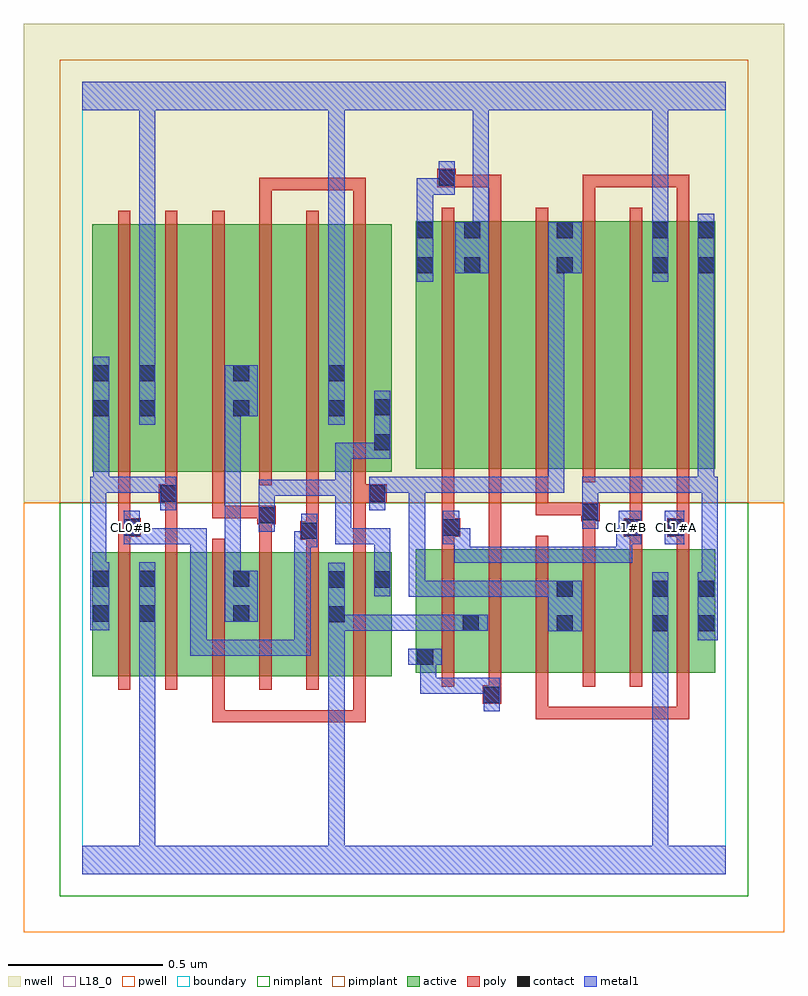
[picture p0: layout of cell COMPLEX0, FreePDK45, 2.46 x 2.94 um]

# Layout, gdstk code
import gdstk
lib = gdstk.Library(unit=1e-6, precision=1e-09)
def R(c, l, rs):  # rectangles x0, y0, x1, y1
    for r in rs: c.add(gdstk.rectangle(r[:2], r[2:], *l))
def A(c, l, x, y, w, h, nx, ny, dx, dy):  # array of equal rectangles
    R(c, l, [(x+i*dx, y+j*dy, x+i*dx+w, y+j*dy+h) for i in range(nx) for j in range(ny)])
active = (1, 0)
pwell = (2, 0)
nwell = (3, 0)
nimplant = (4, 0)
pimplant = (5, 0)
poly = (9, 0)
contact = (10, 0)
metal1 = (11, 0)
L18_0 = (18, 0)
boundary = (235, 0)

complex0 = lib.new_cell('COMPLEX0')
R(complex0, active, [(0.032,0.64,0.24,1.04), (0.18,0.64,0.364,1.04), (0.364,0.64,0.544,1.04), (0.484,0.64,0.668,1.04), (0.668,0.64,0.852,1.04), (0.792,0.64,1,1.04), (1.078,0.65,1.286,1.05), (1.078,0.65,1.138,0.948), (1.226,0.65,1.41,1.05), (1.226,0.65,1.286,0.842), (1.41,0.65,1.59,1.05), (1.53,0.65,1.714,1.05), (1.714,0.65,1.898,1.05), (1.838,0.65,2.046,1.05), (0.032,0.756,0.092,1.04), (0.18,0.756,0.24,0.984), (0.484,0.756,0.544,0.984), (0.792,0.756,0.852,0.982), (0.94,0.756,1,1.04), (1.53,0.756,1.59,0.952), (1.838,0.756,1.898,0.952), (1.986,0.756,2.046,1.05), (0.032,1.3,0.24,2.1), (0.032,1.3,0.092,2.044), (0.18,1.3,0.364,2.1), (0.18,1.3,0.24,2.044), (0.364,1.3,0.544,2.1), (0.484,1.3,0.668,2.1), (0.484,1.3,0.544,2.044), (0.668,1.3,0.852,2.1), (0.792,1.3,1,2.1), (0.792,1.3,0.852,2.044), (0.94,1.3,1,2.044), (1.078,1.31,1.138,2.11), (1.078,1.31,1.29,2.11), (1.23,1.31,1.41,2.11), (1.41,1.31,1.59,2.11), (1.53,1.31,1.714,2.11), (1.714,1.31,1.898,2.11), (1.838,1.31,2.046,2.11), (1.986,1.31,2.046,2.11), (1.23,1.624,1.29,2.11), (1.838,1.65,1.898,2.11), (1.53,1.686,1.59,2.11)])
R(complex0, pwell, [(-0.188,-0.188,2.268,1.2)])
R(complex0, nwell, [(-0.188,1.2,2.268,2.748)])
R(complex0, nimplant, [(-0.072,-0.072,2.152,1.2)])
R(complex0, pimplant, [(-0.072,1.2,2.152,2.632)])
A(complex0, poly, 0.116, 0.596, 0.04, 0.488, 6, 1, 0.152, 0)
A(complex0, poly, 1.162, 0.606, 0.04, 0.488, 6, 1, 0.152, 0)
A(complex0, poly, 0.116, 1.256, 0.04, 0.888, 6, 1, 0.152, 0)
A(complex0, poly, 1.162, 1.266, 0.04, 0.888, 6, 1, 0.152, 0)
A(complex0, poly, 1.314, 2.114, 0.04, 0.146, 3, 1, 0.304, 0)
R(complex0, poly, [(0.42,0.49,0.46,0.636), (0.42,0.49,0.46,0.53), (0.42,0.49,0.46,0.53), (0.42,0.49,0.46,0.53), (0.42,0.49,0.638,0.53), (0.598,0.49,0.638,0.53), (0.598,0.49,0.638,0.53), (0.598,0.49,0.638,0.53), (0.598,0.49,0.81,0.53), (0.77,0.49,0.81,0.53), (0.77,0.49,0.81,0.53), (0.77,0.49,0.81,0.53), (0.77,0.49,0.916,0.53), (0.876,0.49,0.916,0.636), (0.876,0.49,0.916,0.53), (1.466,0.5,1.506,0.646), (1.466,0.5,1.506,0.54), (1.466,0.5,1.506,0.54), (1.466,0.5,1.506,0.54), (1.466,0.5,1.612,0.54), (1.572,0.5,1.612,0.54), (1.572,0.5,1.824,0.54), (1.784,0.5,1.824,0.54), (1.784,0.5,1.824,0.54), (1.784,0.5,1.824,0.54), (1.784,0.5,1.962,0.54), (1.922,0.5,1.962,0.646), (1.922,0.5,1.962,0.54), (1.922,0.5,1.962,0.54), (1.922,0.5,1.962,0.54), (1.294,0.55,1.354,0.61), (1.314,0.57,1.354,0.646), (0.116,1.044,0.156,1.13), (0.268,1.044,0.308,1.24), (0.572,1.044,0.612,1.17), (0.724,1.044,0.764,1.12), (0.876,1.044,0.916,1.24), (1.162,1.054,1.202,1.13), (1.314,1.054,1.354,1.13), (1.618,1.054,1.658,1.18), (1.77,1.054,1.81,1.13), (1.922,1.054,1.962,1.13), (0.704,1.08,0.764,1.14), (0.116,1.09,0.19,1.15), (1.162,1.09,1.222,1.15), (1.314,1.09,1.354,1.13), (1.314,1.09,1.354,1.13), (1.314,1.09,1.354,1.13), (1.314,1.09,1.354,1.306), (1.75,1.09,1.81,1.15), (1.89,1.09,1.962,1.15), (0.724,1.1,0.764,1.14), (0.724,1.1,0.764,1.14), (0.724,1.1,0.764,1.296), (0.116,1.11,0.156,1.15), (0.116,1.11,0.156,1.15), (0.116,1.11,0.156,1.296), (1.162,1.11,1.202,1.15), (1.162,1.11,1.202,1.15), (1.162,1.11,1.202,1.306), (1.77,1.11,1.81,1.15), (1.77,1.11,1.81,1.15), (1.77,1.11,1.81,1.306), (1.922,1.11,1.962,1.15), (1.922,1.11,1.962,1.15), (1.922,1.11,1.962,1.306), (0.566,1.13,0.626,1.19), (0.572,1.13,0.612,1.17), (0.572,1.13,0.612,1.17), (1.612,1.14,1.672,1.2), (1.618,1.14,1.658,1.18), (1.618,1.14,1.658,1.18), (0.42,1.15,0.46,1.296), (0.42,1.15,0.46,1.19), (0.42,1.15,0.46,1.19), (0.42,1.15,0.46,1.19), (0.42,1.15,0.606,1.19), (1.466,1.16,1.506,1.306), (1.466,1.16,1.506,1.2), (1.466,1.16,1.506,1.2), (1.466,1.16,1.506,1.2), (1.466,1.16,1.652,1.2), (0.248,1.2,0.308,1.26), (0.268,1.2,0.308,1.24), (0.268,1.2,0.308,1.24), (0.876,1.2,0.916,1.24), (0.876,1.2,0.916,1.24), (0.876,1.2,0.984,1.26), (0.268,1.22,0.308,1.296), (0.876,1.22,0.916,1.296), (0.572,2.104,0.612,2.25), (0.876,2.104,0.916,2.25), (0.572,2.21,0.612,2.25), (0.572,2.21,0.612,2.25), (0.572,2.21,0.612,2.25), (0.572,2.21,0.81,2.25), (0.77,2.21,0.81,2.25), (0.77,2.21,0.81,2.25), (0.77,2.21,0.81,2.25), (0.77,2.21,0.916,2.25), (0.876,2.21,0.916,2.25), (1.148,2.22,1.208,2.28), (1.168,2.22,1.354,2.26), (1.314,2.22,1.354,2.26), (1.314,2.22,1.354,2.26), (1.314,2.22,1.354,2.26), (1.618,2.22,1.658,2.26), (1.618,2.22,1.658,2.26), (1.618,2.22,1.658,2.26), (1.618,2.22,1.824,2.26), (1.784,2.22,1.824,2.26), (1.784,2.22,1.962,2.26), (1.922,2.22,1.962,2.26), (1.922,2.22,1.962,2.26), (1.922,2.22,1.962,2.26)])
R(complex0, contact, [(1.298,0.554,1.35,0.606), (1.082,0.676,1.134,0.728), (1.534,0.784,1.586,0.836), (1.842,0.784,1.894,0.836), (1.99,0.784,2.042,0.836), (1.23,0.786,1.282,0.838), (0.796,0.814,0.848,0.866), (0.036,0.816,0.088,0.868), (0.184,0.816,0.236,0.868), (0.488,0.816,0.54,0.868), (1.534,0.896,1.586,0.948), (1.842,0.896,1.894,0.948), (1.99,0.896,2.042,0.948), (0.796,0.926,0.848,0.978), (0.944,0.926,0.996,0.978), (0.036,0.928,0.088,0.98), (0.184,0.928,0.236,0.98), (0.488,0.928,0.54,0.98), (0.708,1.084,0.76,1.136), (0.134,1.094,0.186,1.146), (1.166,1.094,1.218,1.146), (1.754,1.094,1.806,1.146), (1.894,1.094,1.946,1.146), (0.57,1.134,0.622,1.186), (1.616,1.144,1.668,1.196), (0.252,1.204,0.304,1.256), (0.928,1.204,0.98,1.256), (0.944,1.37,0.996,1.422), (0.036,1.48,0.088,1.532), (0.184,1.48,0.236,1.532), (0.488,1.48,0.54,1.532), (0.796,1.48,0.848,1.532), (0.944,1.482,0.996,1.534), (0.036,1.592,0.088,1.644), (0.184,1.592,0.236,1.644), (0.488,1.592,0.54,1.644), (0.796,1.592,0.848,1.644), (1.082,1.942,1.134,1.994), (1.234,1.942,1.286,1.994), (1.534,1.942,1.586,1.994), (1.842,1.942,1.894,1.994), (1.99,1.942,2.042,1.994), (1.082,2.054,1.134,2.106), (1.234,2.054,1.286,2.106), (1.534,2.054,1.586,2.106), (1.842,2.054,1.894,2.106), (1.99,2.054,2.042,2.106), (1.152,2.224,1.204,2.276)])
A(complex0, metal1, 1.286, 0.896, 0.052, 0.052, 3, 1, 0.11, 0)
A(complex0, metal1, 1.176, 1.232, 0.162, 0.052, 3, 1, 0.11, 0)
R(complex0, metal1, [(0,0,2.08,0.092), (0.184,0.04,0.236,0.092), (0.184,0.04,0.236,0.092), (0.184,0.04,0.236,0.092), (0.184,0.04,0.236,0.092), (0.184,0.04,0.236,0.092), (0.184,0.04,0.236,0.092), (0.184,0.04,0.236,0.092), (0.184,0.04,0.236,0.092), (0.184,0.04,0.236,0.092), (0.184,0.04,0.236,0.092), (0.184,0.04,0.236,0.84), (0.796,0.04,0.848,0.092), (0.796,0.04,0.848,0.092), (0.796,0.04,0.848,0.092), (0.796,0.04,0.848,0.092), (0.796,0.04,0.848,0.092), (0.796,0.04,0.848,0.092), (0.796,0.04,0.848,0.092), (0.796,0.04,0.848,0.092), (0.796,0.04,0.848,0.092), (0.796,0.04,0.848,0.092), (0.796,0.04,0.848,0.092), (0.796,0.04,0.848,0.092), (0.796,0.04,0.848,0.838), (1.842,0.04,1.894,0.092), (1.842,0.04,1.894,0.092), (1.842,0.04,1.894,0.092), (1.842,0.04,1.894,0.092), (1.842,0.04,1.894,0.092), (1.842,0.04,1.894,0.092), (1.842,0.04,1.894,0.092), (1.842,0.04,1.894,0.092), (1.842,0.04,1.894,0.092), (1.842,0.04,1.894,0.092), (1.842,0.04,1.894,0.092), (1.842,0.04,1.894,0.092), (1.842,0.04,1.894,0.808), (1.298,0.526,1.35,0.634), (1.092,0.582,1.144,0.634), (1.092,0.582,1.144,0.634), (1.092,0.582,1.144,0.634), (1.092,0.582,1.338,0.634), (1.092,0.582,1.144,0.728), (1.286,0.582,1.338,0.634), (1.286,0.582,1.35,0.634), (1.054,0.676,1.162,0.728), (0.35,0.706,0.402,0.758), (0.35,0.706,0.402,0.758), (0.35,0.706,0.402,0.758), (0.35,0.706,0.512,0.758), (0.35,0.706,0.402,1.118), (0.46,0.706,0.512,0.758), (0.46,0.706,0.512,0.758), (0.46,0.706,0.512,0.758), (0.46,0.706,0.65,0.758), (0.598,0.706,0.65,0.758), (0.598,0.706,0.738,0.758), (0.686,0.706,0.738,0.758), (0.686,0.706,0.738,1.108), (1.842,0.756,1.894,0.976), (1.99,0.756,2.054,0.976), (1.506,0.784,1.614,0.948), (0.796,0.786,0.848,1.006), (0.796,0.786,0.996,0.838), (0.944,0.786,0.996,0.838), (0.944,0.786,0.996,0.838), (0.944,0.786,0.996,0.838), (0.944,0.786,0.996,0.838), (0.944,0.786,0.996,0.838), (0.944,0.786,1.106,0.838), (1.054,0.786,1.106,0.838), (1.054,0.786,1.106,0.838), (1.054,0.786,1.106,0.838), (1.054,0.786,1.254,0.838), (1.202,0.786,1.31,0.838), (0.026,0.788,0.088,1.008), (0.184,0.788,0.236,1.008), (0.184,0.788,0.236,0.84), (0.184,0.788,0.236,0.84), (0.46,0.816,0.568,0.98), (1.056,0.896,1.108,0.948), (1.056,0.896,1.228,0.948), (1.056,0.896,1.108,1.284), (1.176,0.896,1.228,0.948), (1.176,0.896,1.254,0.948), (1.202,0.896,1.254,0.948), (1.202,0.896,1.338,0.948), (1.286,0.896,1.448,0.948), (1.396,0.896,1.558,0.948), (1.506,0.896,1.558,0.948), (0.944,0.898,0.996,1.006), (2.002,0.924,2.054,1.284), (0.46,0.928,0.512,0.98), (0.46,0.928,0.512,0.98), (0.46,0.928,0.512,0.98), (0.46,0.928,0.512,0.98), (0.46,0.928,0.512,1.532), (0.944,0.954,0.996,1.118), (0.026,0.956,0.078,1.008), (0.026,0.956,0.078,1.008), (0.026,0.956,0.078,1.284), (1.202,1.006,1.254,1.118), (1.202,1.006,1.338,1.058), (1.286,1.006,1.338,1.058), (1.286,1.006,1.448,1.058), (1.396,1.006,1.448,1.058), (1.396,1.006,1.448,1.058), (1.396,1.006,1.448,1.058), (1.396,1.006,1.668,1.058), (1.616,1.006,1.668,1.058), (1.616,1.006,1.668,1.058), (1.616,1.006,1.668,1.058), (1.616,1.006,1.778,1.058), (1.726,1.006,1.778,1.118), (0.686,1.056,0.738,1.108), (0.686,1.056,0.738,1.108), (0.686,1.056,0.738,1.108), (0.686,1.056,0.76,1.108), (0.708,1.056,0.76,1.164), (0.134,1.066,0.198,1.118), (0.134,1.066,0.186,1.174), (0.146,1.066,0.198,1.118), (0.146,1.066,0.402,1.118), (0.35,1.066,0.402,1.118), (0.35,1.066,0.402,1.118), (0.35,1.066,0.402,1.118), (0.818,1.066,0.87,1.118), (0.818,1.066,0.996,1.118), (0.818,1.066,0.87,1.274), (0.944,1.066,0.996,1.118), (0.944,1.066,0.996,1.118), (0.944,1.066,0.996,1.118), (1.166,1.066,1.218,1.174), (1.166,1.066,1.254,1.118), (1.726,1.066,1.786,1.118), (1.734,1.066,1.806,1.174), (1.882,1.066,1.946,1.174), (0.57,1.106,0.622,1.218), (1.616,1.116,1.668,1.284), (0.57,1.166,0.622,1.218), (0.57,1.166,0.622,1.274), (0.252,1.176,0.304,1.284), (0.928,1.176,0.98,1.284), (0.57,1.222,0.87,1.274), (0.818,1.222,0.87,1.274), (0.818,1.222,0.87,1.274), (0.818,1.222,0.87,1.274), (0.818,1.222,0.87,1.394), (0.026,1.232,0.088,1.284), (0.036,1.232,0.088,1.284), (0.036,1.232,0.088,1.284), (0.036,1.232,0.292,1.284), (0.036,1.232,0.088,1.504), (0.24,1.232,0.292,1.284), (0.24,1.232,0.304,1.284), (0.928,1.232,0.98,1.284), (0.928,1.232,0.98,1.284), (0.928,1.232,1.108,1.284), (1.056,1.232,1.108,1.284), (1.056,1.232,1.108,1.284), (1.056,1.232,1.108,1.284), (1.056,1.232,1.228,1.284), (1.176,1.232,1.228,1.284), (1.286,1.232,1.338,1.284), (1.286,1.232,1.338,1.284), (1.286,1.232,1.338,1.284), (1.396,1.232,1.448,1.284), (1.396,1.232,1.448,1.284), (1.396,1.232,1.448,1.284), (1.506,1.232,1.558,1.284), (1.506,1.232,1.558,1.994), (1.616,1.232,1.778,1.284), (1.726,1.232,1.778,1.284), (1.726,1.232,1.778,1.284), (1.726,1.232,1.778,1.284), (1.726,1.232,1.888,1.284), (1.836,1.232,1.888,1.284), (1.836,1.232,1.888,1.284), (1.836,1.232,1.888,1.284), (1.836,1.232,2.042,1.284), (1.99,1.232,2.042,1.966), (1.99,1.232,2.054,1.284), (2.002,1.232,2.054,1.284), (2.002,1.232,2.054,1.284), (0.818,1.342,0.87,1.394), (0.818,1.342,0.996,1.394), (0.944,1.342,0.996,1.562), (0.944,1.342,0.996,1.394), (0.944,1.342,0.996,1.394), (0.036,1.452,0.088,1.672), (0.184,1.452,0.236,1.672), (0.796,1.452,0.848,1.672), (0.46,1.48,0.568,1.644), (0.184,1.62,0.236,2.52), (0.796,1.62,0.848,1.672), (0.796,1.62,0.848,1.672), (0.796,1.62,0.848,1.672), (0.796,1.62,0.848,1.672), (0.796,1.62,0.848,2.52), (1.082,1.914,1.134,2.134), (1.842,1.914,1.894,2.134), (1.99,1.914,2.042,2.134), (1.206,1.942,1.314,2.106), (1.506,1.942,1.614,2.106), (1.262,2.054,1.314,2.52), (1.082,2.082,1.134,2.248), (1.842,2.082,1.894,2.52), (1.082,2.196,1.134,2.248), (1.082,2.196,1.204,2.248), (1.152,2.196,1.204,2.304), (0,2.468,2.08,2.56), (0.184,2.468,0.236,2.52), (0.184,2.468,0.236,2.52), (0.184,2.468,0.236,2.52), (0.184,2.468,0.236,2.52), (0.184,2.468,0.236,2.52), (0.184,2.468,0.236,2.52), (0.184,2.468,0.236,2.52), (0.184,2.468,0.236,2.52), (0.796,2.468,0.848,2.52), (0.796,2.468,0.848,2.52), (0.796,2.468,0.848,2.52), (0.796,2.468,0.848,2.52), (1.262,2.468,1.314,2.52), (1.262,2.468,1.314,2.52), (1.262,2.468,1.314,2.52), (1.262,2.468,1.314,2.52), (1.262,2.468,1.314,2.52), (1.262,2.468,1.314,2.52), (1.262,2.468,1.314,2.52), (1.262,2.468,1.314,2.52), (1.842,2.468,1.894,2.52), (1.842,2.468,1.894,2.52), (1.842,2.468,1.894,2.52), (1.842,2.468,1.894,2.52), (1.842,2.468,1.894,2.52), (1.842,2.468,1.894,2.52), (1.842,2.468,1.894,2.52), (1.842,2.468,1.894,2.52)])
R(complex0, L18_0, [(0,0,2.08,0.092), (0.184,0.04,0.236,0.092), (0.184,0.04,0.236,0.092), (0.184,0.04,0.236,0.092), (0.184,0.04,0.236,0.092), (0.184,0.04,0.236,0.092), (0.184,0.04,0.236,0.092), (0.184,0.04,0.236,0.092), (0.184,0.04,0.236,0.092), (0.184,0.04,0.236,0.092), (0.184,0.04,0.236,0.092), (0.184,0.04,0.236,0.84), (0.796,0.04,0.848,0.092), (0.796,0.04,0.848,0.092), (0.796,0.04,0.848,0.092), (0.796,0.04,0.848,0.092), (0.796,0.04,0.848,0.092), (0.796,0.04,0.848,0.092), (0.796,0.04,0.848,0.092), (0.796,0.04,0.848,0.092), (0.796,0.04,0.848,0.092), (0.796,0.04,0.848,0.092), (0.796,0.04,0.848,0.092), (0.796,0.04,0.848,0.092), (0.796,0.04,0.848,0.838), (1.842,0.04,1.894,0.092), (1.842,0.04,1.894,0.092), (1.842,0.04,1.894,0.092), (1.842,0.04,1.894,0.092), (1.842,0.04,1.894,0.092), (1.842,0.04,1.894,0.092), (1.842,0.04,1.894,0.092), (1.842,0.04,1.894,0.092), (1.842,0.04,1.894,0.092), (1.842,0.04,1.894,0.092), (1.842,0.04,1.894,0.092), (1.842,0.04,1.894,0.092), (1.842,0.04,1.894,0.808), (0.35,0.706,0.402,0.758), (0.35,0.706,0.402,0.758), (0.35,0.706,0.402,0.758), (0.35,0.706,0.402,1.118), (0.35,0.706,0.512,0.758), (0.46,0.706,0.512,0.758), (0.46,0.706,0.512,0.758), (0.46,0.706,0.512,0.758), (0.46,0.706,0.65,0.758), (0.598,0.706,0.65,0.758), (0.598,0.706,0.738,0.758), (0.686,0.706,0.738,0.758), (0.686,0.706,0.738,1.108), (1.842,0.756,1.894,0.976), (0.796,0.786,0.848,1.006), (0.796,0.786,0.996,0.838), (0.944,0.786,0.996,0.838), (0.944,0.786,0.996,0.838), (0.944,0.786,0.996,0.838), (0.944,0.786,0.996,0.838), (0.944,0.786,0.996,0.838), (0.944,0.786,1.106,0.838), (1.054,0.786,1.106,0.838), (1.054,0.786,1.106,0.838), (1.054,0.786,1.106,0.838), (1.054,0.786,1.254,0.838), (1.202,0.786,1.31,0.838), (0.184,0.788,0.236,0.84), (0.184,0.788,0.236,0.84), (0.184,0.788,0.236,1.008), (1.202,1.006,1.254,1.118), (1.202,1.006,1.338,1.058), (1.286,1.006,1.338,1.058), (1.286,1.006,1.448,1.058), (1.396,1.006,1.448,1.058), (1.396,1.006,1.448,1.058), (1.396,1.006,1.448,1.058), (1.396,1.006,1.668,1.058), (1.616,1.006,1.668,1.058), (1.616,1.006,1.668,1.058), (1.616,1.006,1.668,1.058), (1.616,1.006,1.778,1.058), (1.726,1.006,1.778,1.118), (0.686,1.056,0.738,1.108), (0.686,1.056,0.738,1.108), (0.686,1.056,0.738,1.108), (0.686,1.056,0.76,1.108), (0.708,1.056,0.76,1.164), (0.134,1.066,0.186,1.174), (0.134,1.066,0.198,1.118), (0.146,1.066,0.198,1.118), (0.146,1.066,0.402,1.118), (0.35,1.066,0.402,1.118), (0.35,1.066,0.402,1.118), (0.35,1.066,0.402,1.118), (1.166,1.066,1.218,1.174), (1.166,1.066,1.254,1.118), (1.726,1.066,1.786,1.118), (1.734,1.066,1.806,1.174), (1.882,1.066,1.946,1.174), (0.134,1.094,0.186,1.146), (1.734,1.094,1.786,1.146), (1.894,1.094,1.946,1.146), (0.184,1.452,0.236,1.672), (0.796,1.452,0.848,1.672), (0.184,1.62,0.236,2.52), (0.796,1.62,0.848,1.672), (0.796,1.62,0.848,1.672), (0.796,1.62,0.848,1.672), (0.796,1.62,0.848,1.672), (0.796,1.62,0.848,2.52), (1.842,1.914,1.894,2.134), (1.206,1.942,1.314,2.106), (1.262,2.054,1.314,2.52), (1.842,2.082,1.894,2.52), (0,2.468,2.08,2.56), (0.184,2.468,0.236,2.52), (0.184,2.468,0.236,2.52), (0.184,2.468,0.236,2.52), (0.184,2.468,0.236,2.52), (0.184,2.468,0.236,2.52), (0.184,2.468,0.236,2.52), (0.184,2.468,0.236,2.52), (0.184,2.468,0.236,2.52), (0.796,2.468,0.848,2.52), (0.796,2.468,0.848,2.52), (0.796,2.468,0.848,2.52), (0.796,2.468,0.848,2.52), (1.262,2.468,1.314,2.52), (1.262,2.468,1.314,2.52), (1.262,2.468,1.314,2.52), (1.262,2.468,1.314,2.52), (1.262,2.468,1.314,2.52), (1.262,2.468,1.314,2.52), (1.262,2.468,1.314,2.52), (1.262,2.468,1.314,2.52), (1.842,2.468,1.894,2.52), (1.842,2.468,1.894,2.52), (1.842,2.468,1.894,2.52), (1.842,2.468,1.894,2.52), (1.842,2.468,1.894,2.52), (1.842,2.468,1.894,2.52), (1.842,2.468,1.894,2.52), (1.842,2.468,1.894,2.52)])
R(complex0, boundary, [(0,0,2.08,2.56)])
complex0.add(gdstk.Label('CL0#B', (0.16,1.12), layer=11, texttype=0))
complex0.add(gdstk.Label('CL1#A', (1.92,1.12), layer=11, texttype=0))
complex0.add(gdstk.Label('CL1#B', (1.76,1.12), layer=11, texttype=0))

lib.write_gds('COMPLEX0.gds')
